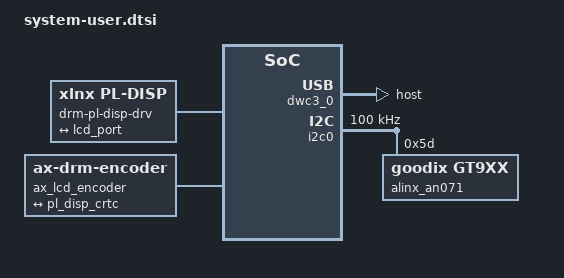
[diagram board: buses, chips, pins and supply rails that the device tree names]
/include/ "system-conf.dtsi"
/ {
};

/* SD */
&sdhci1 {
	disable-wp;
	no-1-8-v;
};

/* USB */
&dwc3_0 {
	status = "okay";
	dr_mode = "host";
};

&amba {
	zyxclmm_drm {
		compatible = "xlnx,zocl";
		status = "okay";
	};
};

&i2c0 {
	status = "okay";
	clock-frequency = <100000>;

	alinx_an071@5D {	
		compatible = "goodix,gt9xx";
		reg = <0x5D>;
		interrupt-parent = <&gic>;
		interrupts = <0 91 4>;
	};
};

&v_tc_0 {
	compatible = "xlnx,bridge-v-tc-6.1";
	xlnx,pixels-per-clock = <1>;
};

&axi_dynclk_0 {
	compatible = "digilent,axi-dynclk";
	#clock-cells = <0x0>;			
	linux,phandle = <0xc>;
	phandle = <0xc>;
};

&amba {
	drm-pl-disp-drv {
		compatible = "xlnx,pl-disp";
		dmas = <&axi_vdma_0 0>;
		dma-names = "dma0";
		xlnx,vformat = "RG24";
		xlnx,bridge = <&v_tc_0>;

		port@0 {
			reg = <0>;
			pl_disp_crtc: endpoint {
				remote-endpoint = <&lcd_port>;
			};
		};
	}; 

	ax_lcd_encoder  {
		compatible = "ax-drm-encoder";
		ports {
			#address-cells = <1>;
			#size-cells = <0>;
			encoder_lcd_port: port@0 {
				reg = <0>;
				lcd_port: endpoint {
					remote-endpoint = <&pl_disp_crtc>;
				};
			};
		};
	};
};


